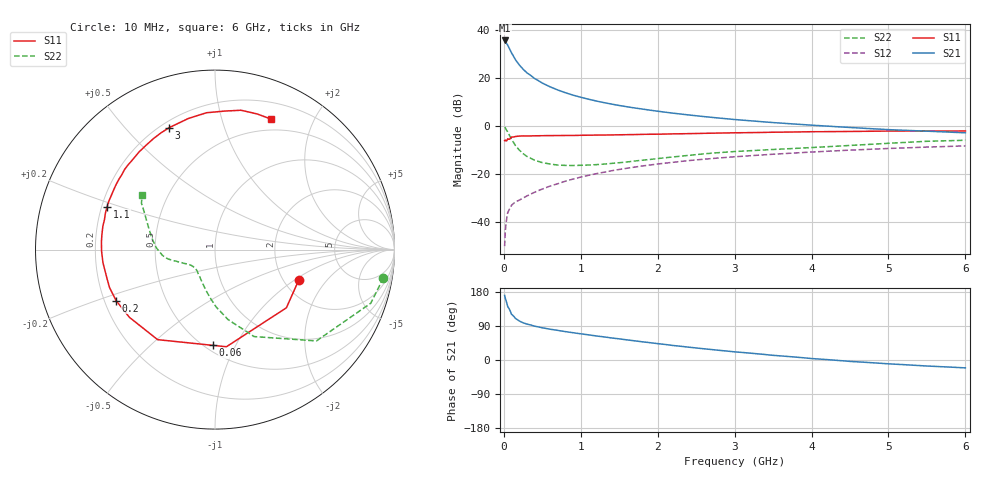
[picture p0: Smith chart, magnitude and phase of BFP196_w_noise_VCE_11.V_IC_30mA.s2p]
! Infineon Technologies  Discrete & RF Semiconductors
! BFP196
! VCE =  11. V,  IC =  30 mA
! Common Emitter S-Parameters:  Jan 2017
# GHz  S  MA  R  50
!  f  S11  S21  S12  S22
! GHz  MAG  ANG  MAG  ANG  MAG  ANG  MAG  ANG
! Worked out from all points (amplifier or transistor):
!   77 points, 10 MHz to 6 GHz, reference 50 ohm
!   highest |S21| = 35.6 dB at 10 MHz (marker M1)
!   |S21| within 3 dB of that: start of sweep to 66.51 MHz
!   unconditionally stable (mu >= 1): 684 MHz to 2.413 GHz
!   at 130 MHz: K = 0.46, MSG = 30.4 dB, |S12| = -32.0 dB
!   at 2.2 GHz: K = 1.01, MAG = 9.5 dB, |S12| = -15.0 dB
!   at 6 GHz: K = 0.92, MSG = 2.7 dB, |S12| = -8.2 dB
!   lowest NFmin = 1.22 dB at 450 MHz
!   S11 on the Smith chart (normalised r, x): 10 MHz: 2.40, -1.08; 60 MHz: 0.55, -0.81; 200 MHz: 0.25, -0.23; 1.1 GHz: 0.22, +0.18; 3 GHz: 0.23, +0.67; 6 GHz: 0.37, +1.45
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0.01  0.4966 -20.0  60.11 170.5  0.0032 76.0  0.9515 -9.5
0.02  0.5132 -39.2  58.88 162.2  0.0068 70.0  0.9177 -19.0
0.05  0.545 -83.3  48.02 141.1  0.0158 60.2  0.7604 -42.0
0.06  0.5335 -91.4  44.67 138.1  0.0171 57.5  0.7068 -45.5
0.1  0.5949 -122.5  33.07 120.6  0.0226 49.9  0.5312 -65.8
0.15  0.608 -141.6  24.04 109.9  0.0266 47.1  0.3961 -79.5
0.2  0.62 -152.7  18.71 103.1  0.0289 48.9  0.3186 -89.0
0.25  0.6246 -160.2  15.22 98.2  0.032 50.2  0.2683 -96.0
0.3  0.6229 -165.6  12.79 94.8  0.0353 52.4  0.2342 -102.2
0.4  0.6285 -173.4  9.74 89.2  0.0422 56.2  0.1953 -111.6
0.5  0.6321 -179.3  7.822 85.0  0.0492 58.3  0.1743 -119.1
0.6  0.6342 176.0  6.558 81.3  0.0566 59.3  0.163 -125.4
0.7  0.6358 172.1  5.629 78.2  0.0634 61.1  0.1548 -130.1
0.9  0.6381 164.7  4.389 72.0  0.0794 61.3  0.152 -137.5
1.1  0.6468 158.4  3.619 66.4  0.0947 60.9  0.1552 -143.2
1.5  0.6591 146.9  2.678 55.8  0.1254 58.0  0.1735 -152.5
2.1  0.683 130.5  1.943 40.9  0.17 51.9  0.2198 -162.3
3  0.7256 110.7  1.369 21.5  0.2301 41.2  0.2961 -174.2
3.1  0.7281 108.8  1.329 19.9  0.236 40.0  0.3018 -175.8
4.1  0.7648 92.1  1.022 2.5  0.2943 28.6  0.3652 167.5
5.1  0.7894 78.1  0.831 -11.2  0.3471 17.1  0.4477 151.9
6  0.7911 66.8  0.725 -20.8  0.3879 7.0  0.5079 143.4
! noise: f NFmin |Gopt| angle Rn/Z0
0.45  1.22  0.34  169  0.05
0.9  1.38  0.45  -172  0.06
1.9  2.24  0.68  -135  0.25
2.4  2.64  0.71  -121  0.6
